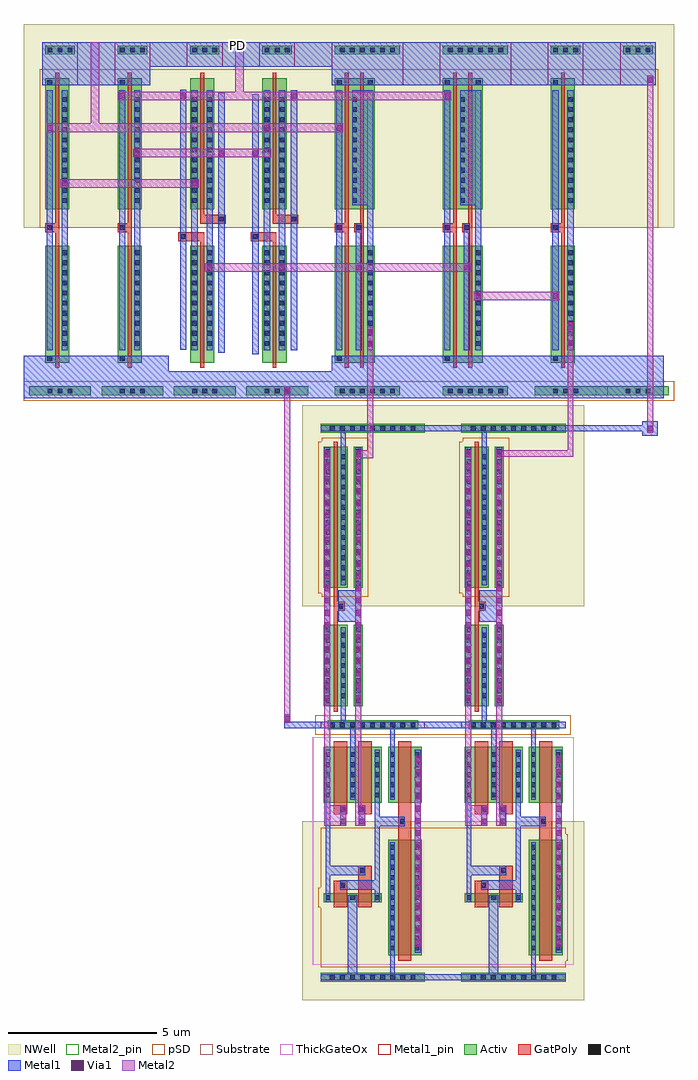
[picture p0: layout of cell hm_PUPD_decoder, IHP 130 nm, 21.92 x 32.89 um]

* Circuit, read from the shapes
.subckt hm_PUPD_decoder PD vdd vss
XM1 hm_Tgate_noptap_0/i hm_Tgate_noptap_1/i vss vss sg13_lv_nmos w=3.93u l=0.13u
XM2 sg13g2_io_inv_x1_noptap_2/nq PD vss vss sg13_lv_nmos w=3.93u l=0.13u
XM3 sg13g2_io_nand2_x1_noptap_3/i1 PD hm_Tgate_noptap_0/i vss sg13_lv_nmos w=3.93u l=0.13u
XM4 sg13g2_io_nand2_x1_noptap_3/i1 sg13g2_io_inv_x1_noptap_2/nq hm_Tgate_noptap_1/i vss sg13_lv_nmos w=3.93u l=0.13u
XM5 vss n1 n2 vss sg13_hv_nmos w=1.9u l=0.45u
XM6 vss sg13g2_LevelUp_noptap_7/i n1 vss sg13_lv_nmos w=2.75u l=0.13u
XM7 n3 hm_Tgate_noptap_1/i vss vss sg13_lv_nmos w=3.93u l=0.13u
XM8 n4 sg13g2_LevelUp_noptap_7/i vss vss sg13_hv_nmos w=1.9u l=0.45u
XM9 sg13g2_LevelUp_noptap_7/i sg13g2_io_nand2_x1_noptap_3/i1 n3 vss sg13_lv_nmos w=3.93u l=0.13u
XM10 sg13g2_LevelUp_noptap_7/o n4 vss vss sg13_hv_nmos w=1.9u l=0.45u
XM11 n5 PD vss vss sg13_lv_nmos w=3.93u l=0.13u
XM12 sg13g2_io_inv_x1_noptap_8/i sg13g2_io_nand2_x1_noptap_3/i1 n5 vss sg13_lv_nmos w=3.93u l=0.13u
XM13 vss n6 n7 vss sg13_hv_nmos w=1.9u l=0.45u
XM14 vss sg13g2_LevelUp_noptap_6/i n6 vss sg13_lv_nmos w=2.75u l=0.13u
XM15 n8 sg13g2_LevelUp_noptap_6/i vss vss sg13_hv_nmos w=1.9u l=0.45u
XM16 sg13g2_LevelUp_noptap_6/o n8 vss vss sg13_hv_nmos w=1.9u l=0.45u
XM17 sg13g2_LevelUp_noptap_6/i sg13g2_io_inv_x1_noptap_8/i vss vss sg13_lv_nmos w=3.93u l=0.13u
XM18 hm_Tgate_noptap_0/i hm_Tgate_noptap_1/i vdd vdd sg13_lv_pmos w=4.41u l=0.13u
XM19 sg13g2_io_inv_x1_noptap_2/nq PD vdd vdd sg13_lv_pmos w=4.41u l=0.13u
XM20 sg13g2_io_nand2_x1_noptap_3/i1 sg13g2_io_inv_x1_noptap_2/nq hm_Tgate_noptap_0/i vdd sg13_lv_pmos w=4.41u l=0.13u
XM21 sg13g2_io_nand2_x1_noptap_3/i1 PD hm_Tgate_noptap_1/i vdd sg13_lv_pmos w=4.41u l=0.13u
XM22 sg13g2_LevelUp_noptap_6/iovdd n4 n2 sg13g2_LevelUp_noptap_6/iovdd sg13_hv_pmos w=0.3u l=0.45u
XM23 vdd sg13g2_LevelUp_noptap_7/i n1 vdd sg13_lv_pmos w=4.75u l=0.13u
XM24 sg13g2_LevelUp_noptap_7/i hm_Tgate_noptap_1/i vdd vdd sg13_lv_pmos w=4.41u l=0.13u
XM25 n4 n2 sg13g2_LevelUp_noptap_6/iovdd sg13g2_LevelUp_noptap_6/iovdd sg13_hv_pmos w=0.3u l=0.45u
XM26 vdd sg13g2_io_nand2_x1_noptap_3/i1 sg13g2_LevelUp_noptap_7/i vdd sg13_lv_pmos w=4.41u l=0.13u
XM27 sg13g2_LevelUp_noptap_7/o n4 sg13g2_LevelUp_noptap_6/iovdd sg13g2_LevelUp_noptap_6/iovdd sg13_hv_pmos w=3.9u l=0.45u
XM28 sg13g2_io_inv_x1_noptap_8/i PD vdd vdd sg13_lv_pmos w=4.41u l=0.13u
XM29 vdd sg13g2_io_nand2_x1_noptap_3/i1 sg13g2_io_inv_x1_noptap_8/i vdd sg13_lv_pmos w=4.41u l=0.13u
XM30 sg13g2_LevelUp_noptap_6/iovdd n8 n7 sg13g2_LevelUp_noptap_6/iovdd sg13_hv_pmos w=0.3u l=0.45u
XM31 vdd sg13g2_LevelUp_noptap_6/i n6 vdd sg13_lv_pmos w=4.75u l=0.13u
XM32 n8 n7 sg13g2_LevelUp_noptap_6/iovdd sg13g2_LevelUp_noptap_6/iovdd sg13_hv_pmos w=0.3u l=0.45u
XM33 sg13g2_LevelUp_noptap_6/o n8 sg13g2_LevelUp_noptap_6/iovdd sg13g2_LevelUp_noptap_6/iovdd sg13_hv_pmos w=3.9u l=0.45u
XM34 sg13g2_LevelUp_noptap_6/i sg13g2_io_inv_x1_noptap_8/i vdd vdd sg13_lv_pmos w=4.41u l=0.13u
.ends

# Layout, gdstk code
import gdstk
lib = gdstk.Library(unit=1e-6, precision=1e-09)
def R(c, l, rs):  # rectangles x0, y0, x1, y1
    for r in rs: c.add(gdstk.rectangle(r[:2], r[2:], *l))
def A(c, l, x, y, w, h, nx, ny, dx, dy):  # array of equal rectangles
    R(c, l, [(x+i*dx, y+j*dy, x+i*dx+w, y+j*dy+h) for i in range(nx) for j in range(ny)])
def P(c, l, *ps):  # polygons
    for p in ps: c.add(gdstk.Polygon(p, *l))
Activ = (1, 0)
GatPoly = (5, 0)
Cont = (6, 0)
Metal1 = (8, 0)
Metal1_pin = (8, 2)
Metal2 = (10, 0)
Metal2_pin = (10, 2)
pSD = (14, 0)
Via1 = (19, 0)
NWell = (31, 0)
Substrate = (40, 0)
ThickGateOx = (44, 0)

hm_tgate_noptap = lib.new_cell('hm_Tgate_noptap')
R(hm_tgate_noptap, Activ, [(2,0.105,4.08,0.405), (2.545,1.21,3.355,5.14), (2.545,6.38,3.355,10.79), (2.545,11.595,3.535,11.895)])
R(hm_tgate_noptap, GatPoly, [(2.885,1.03,3.015,5.605), (2.15,5.305,2.885,5.605), (2.885,5.895,3.015,10.97), (3.015,5.895,3.75,6.195)])
A(hm_tgate_noptap, Cont, 2.62, 0.175, 0.16, 0.16, 3, 2, 0.34, 11.49)
A(hm_tgate_noptap, Cont, 2.615, 1.775, 0.16, 0.16, 1, 10, 0, 0.34)
A(hm_tgate_noptap, Cont, 3.125, 1.775, 0.16, 0.16, 1, 10, 0, 0.34)
A(hm_tgate_noptap, Cont, 2.615, 6.595, 0.16, 0.16, 1, 11, 0, 0.34)
A(hm_tgate_noptap, Cont, 3.125, 6.595, 0.16, 0.16, 1, 11, 0, 0.34)
R(hm_tgate_noptap, Cont, [(2.23,5.38,2.39,5.54), (3.525,5.97,3.685,6.13)])
R(hm_tgate_noptap, Metal1, [(1.82,0,4.26,0.915), (2.59,1.62,2.8,10.38), (3.1,1.62,3.31,10.38), (2.44,11.185,3.64,12)])
R(hm_tgate_noptap, Metal1_pin, [(2.44,0,3.64,0.915), (2.59,1.62,2.8,10.38), (3.1,1.62,3.31,10.38), (2.44,11.185,3.64,12)])
R(hm_tgate_noptap, pSD, [(1.82,-0.075,4.26,0.585), (2.365,5.76,3.715,11.09)])
R(hm_tgate_noptap, NWell, [(1.82,5.76,4.26,12.62)])
R(hm_tgate_noptap, Substrate, [(2,0.105,4.08,0.405)])
hm_tgate_noptap.add(gdstk.Label('sub!', (3.15,0.22), layer=63, texttype=0))
hm_tgate_noptap.add(gdstk.Label('nq', (3.22,3.755), layer=8, texttype=25))
hm_tgate_noptap.add(gdstk.Label('i', (2.695,6), layer=8, texttype=25))
hm_tgate_noptap.add(gdstk.Label('vdd', (3.04,11.28), layer=8, texttype=25))

sg13g2_io_inv_x1_noptap = lib.new_cell('sg13g2_io_inv_x1_noptap')
R(sg13g2_io_inv_x1_noptap, Activ, [(-0.44,0.105,1.64,0.405), (0.105,1.21,0.915,5.14), (0.105,6.38,0.915,10.79), (0.105,11.595,1.095,11.895)])
P(sg13g2_io_inv_x1_noptap, GatPoly, [(0.445,1.03),(0.445,5.61),(0.105,5.61),(0.105,5.91),(0.445,5.91),(0.445,10.97),(0.575,10.97),(0.575,1.03)])
A(sg13g2_io_inv_x1_noptap, Cont, 0.18, 0.175, 0.16, 0.16, 3, 2, 0.34, 11.49)
A(sg13g2_io_inv_x1_noptap, Cont, 0.685, 1.775, 0.16, 0.16, 1, 10, 0, 0.34)
A(sg13g2_io_inv_x1_noptap, Cont, 0.685, 6.595, 0.16, 0.16, 1, 11, 0, 0.34)
R(sg13g2_io_inv_x1_noptap, Cont, [(0.175,1.28,0.335,1.44), (0.175,5.68,0.335,5.84), (0.175,10.56,0.335,10.72)])
R(sg13g2_io_inv_x1_noptap, Metal1, [(-0.62,0,1.82,1.44), (0.15,1.62,0.36,10.38), (0.66,1.62,0.87,10.38), (0,10.56,1.2,12)])
R(sg13g2_io_inv_x1_noptap, Metal1_pin, [(0,0,1.2,1.44), (0.15,1.62,0.36,10.38), (0.66,1.62,0.87,10.38), (0,10.56,1.2,12)])
R(sg13g2_io_inv_x1_noptap, pSD, [(-0.62,-0.075,1.82,0.585), (-0.075,5.76,1.275,11.09)])
R(sg13g2_io_inv_x1_noptap, NWell, [(-0.62,5.76,1.82,12.62)])
R(sg13g2_io_inv_x1_noptap, Substrate, [(-0.44,0.105,1.64,0.405)])
sg13g2_io_inv_x1_noptap.add(gdstk.Label('sub!', (0.71,0.22), layer=63, texttype=0))
sg13g2_io_inv_x1_noptap.add(gdstk.Label('nq', (0.78,3.755), layer=8, texttype=25))
sg13g2_io_inv_x1_noptap.add(gdstk.Label('i', (0.255,6), layer=8, texttype=25))
sg13g2_io_inv_x1_noptap.add(gdstk.Label('vdd', (0.6,11.28), layer=8, texttype=25))
sg13g2_io_inv_x1_noptap.add(gdstk.Label('vss', (0.6,0.72), layer=8, texttype=25))

sg13g2_io_nand2_x1_nopta = lib.new_cell('sg13g2_io_nand2_x1_noptap')
R(sg13g2_io_nand2_x1_nopta, Activ, [(0.105,0.105,2.295,0.405), (0.105,1.21,1.445,5.14), (0.105,6.38,1.445,10.79), (0.105,11.595,2.295,11.895)])
P(sg13g2_io_nand2_x1_nopta, GatPoly, [(0.955,1.03),(0.955,5.61),(0.755,5.61),(0.755,5.91),(0.955,5.91),(0.955,10.97),(1.085,10.97),(1.085,1.03)],
  [(0.445,1.03),(0.445,5.61),(0.105,5.61),(0.105,5.91),(0.445,5.91),(0.445,10.97),(0.575,10.97),(0.575,1.03)])
A(sg13g2_io_nand2_x1_nopta, Cont, 0.27, 0.175, 0.16, 0.16, 6, 2, 0.34, 11.49)
A(sg13g2_io_nand2_x1_nopta, Cont, 1.215, 1.775, 0.16, 0.16, 1, 10, 0, 0.34)
A(sg13g2_io_nand2_x1_nopta, Cont, 0.685, 6.595, 0.16, 0.16, 1, 11, 0, 0.34)
R(sg13g2_io_nand2_x1_nopta, Cont, [(0.175,1.28,0.335,1.44), (0.175,5.68,0.335,5.84), (0.825,5.68,0.985,5.84), (0.175,10.56,0.335,10.72), (1.215,10.56,1.375,10.72)])
R(sg13g2_io_nand2_x1_nopta, Metal1, [(0,0,2.4,1.44), (0.15,1.62,0.36,10.38), (0.8,1.62,1.01,5.91), (0,10.56,2.4,12)])
P(sg13g2_io_nand2_x1_nopta, Metal1, [(1.19,1.62),(1.19,6.515),(0.685,6.515),(0.685,10.38),(1.4,10.38),(1.4,1.62)])
R(sg13g2_io_nand2_x1_nopta, Metal1_pin, [(0,0,2.4,1.44), (0.15,1.62,0.36,10.38), (0.8,1.62,1.01,5.91), (1.19,1.62,1.4,10.38), (0,10.56,2.4,12)])
R(sg13g2_io_nand2_x1_nopta, pSD, [(-0.075,-0.075,2.475,0.585), (-0.075,5.76,2.475,11.09)])
R(sg13g2_io_nand2_x1_nopta, NWell, [(-0.62,5.76,3.02,12.62)])
R(sg13g2_io_nand2_x1_nopta, Substrate, [(0.105,0.105,2.295,0.405)])
sg13g2_io_nand2_x1_nopta.add(gdstk.Label('sub!', (0.36,0.29), layer=63, texttype=0))
sg13g2_io_nand2_x1_nopta.add(gdstk.Label('i1', (0.895,5.865), layer=8, texttype=25))
sg13g2_io_nand2_x1_nopta.add(gdstk.Label('nq', (1.32,10.025), layer=8, texttype=25))
sg13g2_io_nand2_x1_nopta.add(gdstk.Label('i0', (0.255,6), layer=8, texttype=25))
sg13g2_io_nand2_x1_nopta.add(gdstk.Label('vdd', (1.2,11.28), layer=8, texttype=25))
sg13g2_io_nand2_x1_nopta.add(gdstk.Label('vss', (1.2,0.72), layer=8, texttype=25))

sg13g2_levelup_noptap = lib.new_cell('sg13g2_LevelUp_noptap')
R(sg13g2_levelup_noptap, Activ, [(0,-0.15,3.51,0.15), (2.275,0.73,3.405,4.63), (0.105,2.53,2.065,2.83), (0.105,5.87,1.235,7.77), (1.15,5.87,1.85,7.77), (1.765,5.87,2.065,7.77), (2.275,5.87,3.405,7.77), (0.245,8.35,3.29,8.65), (0.105,9.13,0.915,11.88), (1.125,9.13,1.425,11.88), (0.105,13.12,0.915,17.87), (1.125,13.12,1.425,17.87), (0,18.35,3.51,18.65)])
R(sg13g2_levelup_noptap, GatPoly, [(2.615,0.55,3.065,7.95), (0.445,2.35,0.895,3.01), (0.445,2.35,0.895,3.25), (1.275,2.35,1.725,3.75), (1.275,3.45,1.575,3.75), (0.445,5.49,0.895,7.95), (1.275,5.49,1.725,7.95)])
P(sg13g2_levelup_noptap, GatPoly, [(0.445,8.95),(0.445,18.05),(0.575,18.05),(0.575,12.65),(0.825,12.65),(0.825,12.35),(0.575,12.35),(0.575,8.95)],
  [(0.595,5.49),(0.595,5.69),(0.445,5.69),(0.445,7.95),(0.895,7.95),(0.895,5.49)],
  [(1.275,5.49),(1.275,7.95),(1.725,7.95),(1.725,5.69),(1.575,5.69),(1.575,5.49)])
A(sg13g2_levelup_noptap, Cont, 0.315, -0.08, 0.16, 0.16, 9, 2, 0.34, 8.5)
A(sg13g2_levelup_noptap, Cont, 2.345, 0.9, 0.16, 0.16, 1, 11, 0, 0.34)
A(sg13g2_levelup_noptap, Cont, 3.175, 0.9, 0.16, 0.16, 1, 11, 0, 0.34)
A(sg13g2_levelup_noptap, Cont, 0.175, 2.6, 0.16, 0.16, 3, 2, 0.83, 3.46)
A(sg13g2_levelup_noptap, Cont, 2.345, 6.06, 0.16, 0.16, 1, 5, 0, 0.34)
A(sg13g2_levelup_noptap, Cont, 3.175, 6.06, 0.16, 0.16, 1, 5, 0, 0.34)
A(sg13g2_levelup_noptap, Cont, 0.175, 6.4, 0.16, 0.16, 3, 4, 0.83, 0.34)
A(sg13g2_levelup_noptap, Cont, 0.175, 9.235, 0.16, 0.16, 1, 8, 0, 0.34)
A(sg13g2_levelup_noptap, Cont, 1.195, 9.235, 0.16, 0.16, 1, 8, 0, 0.34)
A(sg13g2_levelup_noptap, Cont, 0.685, 9.405, 0.16, 0.16, 1, 7, 0, 0.34)
A(sg13g2_levelup_noptap, Cont, 0.175, 13.205, 0.16, 0.16, 1, 14, 0, 0.34)
A(sg13g2_levelup_noptap, Cont, 1.195, 13.205, 0.16, 0.16, 1, 14, 0, 0.34)
A(sg13g2_levelup_noptap, Cont, 0.685, 13.375, 0.16, 0.16, 1, 13, 0, 0.34)
A(sg13g2_levelup_noptap, Cont, 0.315, 18.42, 0.16, 0.16, 9, 1, 0.34, 0)
R(sg13g2_levelup_noptap, Cont, [(0.665,3.02,0.825,3.18), (1.345,3.52,1.505,3.68), (2.685,5.17,2.845,5.33), (0.665,5.56,0.825,5.72), (1.345,5.56,1.505,5.72), (0.595,12.42,0.755,12.58)])
R(sg13g2_levelup_noptap, Metal1, [(3.175,0.82,3.385,7.66), (0.665,2.94,0.825,3.26), (1.345,3.44,1.505,3.76), (0.665,5.1,0.875,5.8), (1.295,5.1,1.505,5.8), (1.345,5.48,1.505,5.8), (0.125,9.155,0.335,17.865)])
P(sg13g2_levelup_noptap, Metal1, [(1.835,2.52),(1.835,2.94),(0.665,2.94),(0.665,3.26),(1.835,3.26),(1.835,7.66),(1.995,7.66),(1.995,5.41),(2.845,5.41),(2.845,5.09),(1.995,5.09),(1.995,2.52)],
  [(0,-0.105),(0,0.105),(0.925,0.105),(0.925,2.76),(1.245,2.76),(1.245,0.105),(2.345,0.105),(2.345,4.54),(2.505,4.54),(2.505,0.105),(3.51,0.105),(3.51,-0.105)],
  [(0.175,2.52),(0.175,7.66),(0.335,7.66),(0.335,3.76),(1.505,3.76),(1.505,3.44),(0.335,3.44),(0.335,2.52)],
  [(1.17,9.155),(1.17,11.97),(0.595,11.97),(0.595,13.03),(1.17,13.03),(1.17,17.865),(1.38,17.865),(1.38,9.155)],
  [(1.005,5.98),(1.005,8.395),(0,8.395),(0,8.605),(0.685,8.605),(0.685,11.79),(0.845,11.79),(0.845,8.605),(3.51,8.605),(3.51,8.395),(2.505,8.395),(2.505,5.98),(2.345,5.98),(2.345,8.395),(1.165,8.395),(1.165,5.98)],
  [(0.685,13.21),(0.685,18.395),(0,18.395),(0,18.605),(3.51,18.605),(3.51,18.395),(0.845,18.395),(0.845,13.21)])
R(sg13g2_levelup_noptap, Metal1_pin, [(0,-0.105,3.51,0.105), (0,8.395,3.51,8.605), (0,18.395,3.51,18.605)])
R(sg13g2_levelup_noptap, Metal2, [(3.18,1.02,3.38,7.46)])
P(sg13g2_levelup_noptap, Metal2, [(1.175,5.1),(1.175,17.755),(1.375,17.755),(1.375,5.8),(1.5,5.8),(1.5,5.1)],
  [(0.13,5.1),(0.13,17.755),(0.33,17.755),(0.33,5.8),(0.87,5.8),(0.87,5.1)])
R(sg13g2_levelup_noptap, Metal2_pin, [(3.18,1.02,3.38,7.46), (1.175,9.265,1.375,17.755)])
R(sg13g2_levelup_noptap, pSD, [(-0.18,8.17,3.69,8.83)])
P(sg13g2_levelup_noptap, pSD, [(0.035,12.82),(0.035,12.94),(-0.075,12.94),(-0.075,18.05),(0.035,18.05),(0.035,18.17),(1.605,18.17),(1.605,12.82)],
  [(0,0.33),(0,2.35),(-0.075,2.35),(-0.075,3.01),(0,3.01),(0,5.03),(3.51,5.03),(3.51,4.81),(3.585,4.81),(3.585,0.55),(3.51,0.55),(3.51,0.33)])
A(sg13g2_levelup_noptap, Via1, 3.185, 1.07, 0.19, 0.19, 1, 16, 0, 0.41)
A(sg13g2_levelup_noptap, Via1, 0.135, 9.315, 0.19, 0.19, 1, 21, 0, 0.41)
A(sg13g2_levelup_noptap, Via1, 1.18, 9.315, 0.19, 0.19, 1, 21, 0, 0.41)
R(sg13g2_levelup_noptap, Via1, [(0.675,5.15,0.865,5.34), (1.305,5.15,1.495,5.34), (0.675,5.56,0.865,5.75), (1.305,5.56,1.495,5.75)])
R(sg13g2_levelup_noptap, NWell, [(-0.62,-0.77,4.13,5.25), (-0.62,12.5,4.13,19.27)])
R(sg13g2_levelup_noptap, Substrate, [(0.245,8.35,3.29,8.65)])
R(sg13g2_levelup_noptap, ThickGateOx, [(-0.27,0.42,3.78,8.08)])
sg13g2_levelup_noptap.add(gdstk.Label('sub!', (1.61,8.535), layer=63, texttype=0))
sg13g2_levelup_noptap.add(gdstk.Label('iovdd', (1.755,0), layer=8, texttype=25))
sg13g2_levelup_noptap.add(gdstk.Label('vss', (1.755,8.5), layer=8, texttype=25))
sg13g2_levelup_noptap.add(gdstk.Label('vdd', (1.755,18.5), layer=8, texttype=25))
sg13g2_levelup_noptap.add(gdstk.Label('o', (3.28,4.24), layer=10, texttype=25))
sg13g2_levelup_noptap.add(gdstk.Label('i', (1.275,13.51), layer=10, texttype=25))

sg13g2_io_tie_noptap = lib.new_cell('sg13g2_io_tie_noptap')
R(sg13g2_io_tie_noptap, Activ, [(-0.445,0.105,1.64,0.405), (0.105,11.595,1.095,11.895), (0.11,11.595,1.09,11.895)])
A(sg13g2_io_tie_noptap, Cont, 0.18, 0.175, 0.16, 0.16, 3, 2, 0.34, 11.49)
R(sg13g2_io_tie_noptap, Metal1, [(-0.25,0,1.47,1.44), (0,10.56,1.2,12)])
R(sg13g2_io_tie_noptap, Metal1_pin, [(0,0,1.2,1.44), (0,10.56,1.2,12)])
R(sg13g2_io_tie_noptap, pSD, [(-0.62,-0.075,1.82,0.585), (-0.075,5.76,1.275,11.09)])
R(sg13g2_io_tie_noptap, NWell, [(-0.62,5.76,1.82,12.62)])
R(sg13g2_io_tie_noptap, Substrate, [(-0.445,0.105,1.64,0.405)])
sg13g2_io_tie_noptap.add(gdstk.Label('sub!', (0.62,0.32), layer=63, texttype=0))
sg13g2_io_tie_noptap.add(gdstk.Label('vss', (0.6,0.72), layer=8, texttype=25))
sg13g2_io_tie_noptap.add(gdstk.Label('vdd', (0.6,11.28), layer=8, texttype=25))

hm_pupd_decoder = lib.new_cell('hm_PUPD_decoder')
R(hm_pupd_decoder, Activ, [(18.68,0.105,19.035,0.405)])
A(hm_pupd_decoder, Metal1, 3.64, 11.185, 1.24, 0.815, 3, 1, 2.44, 0)
R(hm_pupd_decoder, Metal1, [(12.89,-19.605,14.13,-19.395), (8.15,-11.105,9.38,-10.895), (12.89,-11.105,14.13,-10.895), (8.15,-10.935,8.36,-10.645), (20.225,-1.255,20.745,-0.76), (12.89,-1.105,14.13,-0.895), (17.64,-1.105,20.595,-0.895), (9.14,0,9.76,0.915), (12.16,0,13.4,1.44), (15.8,0,16.42,1.44), (18.86,0,19.23,1.44), (7.085,1.485,7.295,10.245), (5.94,1.545,6.15,10.305), (8.38,1.62,8.59,10.38), (4.645,1.65,4.855,10.41), (1.2,10.56,2.44,12), (12.16,10.56,13.4,12), (15.8,10.56,17.04,12), (18.24,10.56,19.48,12)])
R(hm_pupd_decoder, Metal1_pin, [(-0.62,0,4.26,1.44), (4.26,0,9.76,0.915), (9.76,0,20.95,1.44), (7.085,1.485,7.295,10.245), (5.94,1.545,6.15,10.305), (8.38,1.62,8.59,10.38), (4.645,1.65,4.855,10.41)])
R(hm_pupd_decoder, Metal2, [(8.155,-10.935,8.355,0.395), (10.755,-2.02,10.955,-1.745), (10.955,-2.02,11.155,2.425), (15.505,-1.97,17.705,-1.745), (17.705,-1.97,17.905,2.565), (20.385,-1.16,20.585,10.875), (14.545,3.315,17.43,3.605), (5.485,4.265,14.445,4.555), (0.61,7.105,5.285,7.395), (3.065,8.125,7.725,8.415), (0.15,8.98,10.145,9.27), (1.633,9.27,1.923,12), (2.565,10.045,13.785,10.335), (6.505,10.335,6.795,12)])
R(hm_pupd_decoder, Metal2_pin, [(6.505,11.76,6.795,12)])
A(hm_pupd_decoder, pSD, 1.275, 5.76, 1.09, 5.33, 4, 1, 2.44, 0)
R(hm_pupd_decoder, pSD, [(12.89,-19.17,14.13,-14.47), (13.07,-11.33,13.95,-10.67), (9.14,-0.075,9.685,0.585), (12.235,-0.075,13.325,0.585), (15.875,-0.075,16.42,0.585), (12.235,5.76,13.325,11.09), (15.875,5.76,16.965,11.09), (18.315,5.76,19.405,11.09)])
R(hm_pupd_decoder, Via1, [(8.16,-10.885,8.35,-10.695), (20.39,-1.11,20.58,-0.92), (8.16,0.155,8.35,0.345), (10.96,1.75,11.15,1.94), (17.71,1.775,17.9,1.965), (10.96,2.145,11.15,2.335), (17.71,2.315,17.9,2.505), (14.6,3.365,14.79,3.555), (17.2,3.365,17.39,3.555), (5.55,4.315,5.74,4.505), (7.99,4.315,8.18,4.505), (10.57,4.315,10.76,4.505), (14.21,4.315,14.4,4.505), (0.67,7.155,0.86,7.345), (5.04,7.155,5.23,7.345), (3.11,8.17,3.3,8.36), (5.95,8.17,6.14,8.36), (7.095,8.17,7.285,8.36), (0.16,9.03,0.35,9.22), (7.48,9.03,7.67,9.22), (9.92,9.03,10.11,9.22), (13.56,10.09,13.75,10.28), (2.6,10.095,2.79,10.285), (4.655,10.095,4.845,10.285), (8.39,10.095,8.58,10.285), (20.39,10.635,20.58,10.825)])
R(hm_pupd_decoder, NWell, [(6.7,5.76,9.14,12.62)])
R(hm_pupd_decoder, ThickGateOx, [(13.16,-19.08,13.86,-11.42)])
hm_pupd_decoder.add(gdstk.Reference(hm_tgate_noptap, (2.44,0)))
hm_pupd_decoder.add(gdstk.Reference(hm_tgate_noptap, (4.88,0)))
hm_pupd_decoder.add(gdstk.Reference(sg13g2_io_inv_x1_noptap, (2.44,0)))
hm_pupd_decoder.add(gdstk.Reference(sg13g2_io_nand2_x1_nopta, (9.76,0)))
hm_pupd_decoder.add(gdstk.Reference(sg13g2_io_inv_x1_noptap, (0,0)))
hm_pupd_decoder.add(gdstk.Reference(sg13g2_io_nand2_x1_nopta, (13.4,0)))
hm_pupd_decoder.add(gdstk.Reference(sg13g2_levelup_noptap, (14.13,-19.5)))
hm_pupd_decoder.add(gdstk.Reference(sg13g2_levelup_noptap, (9.38,-19.5)))
hm_pupd_decoder.add(gdstk.Reference(sg13g2_io_inv_x1_noptap, (17.04,0)))
hm_pupd_decoder.add(gdstk.Reference(sg13g2_io_tie_noptap, (19.48,0)))
hm_pupd_decoder.add(gdstk.Label('PD', (6.58,11.895), layer=10, texttype=25))

lib.write_gds('hm_PUPD_decoder.gds')
